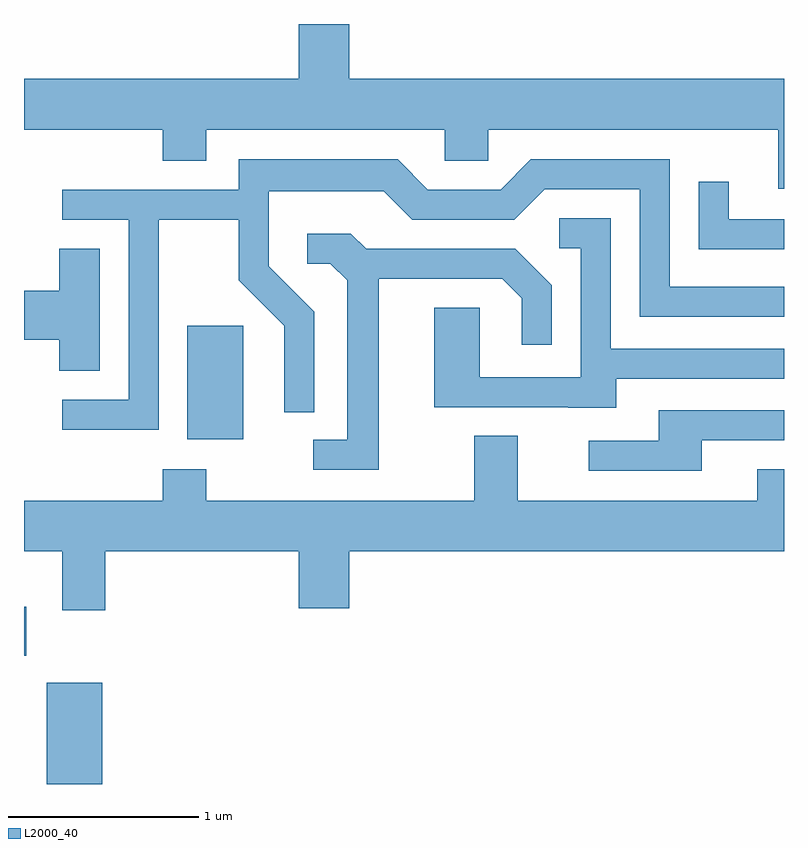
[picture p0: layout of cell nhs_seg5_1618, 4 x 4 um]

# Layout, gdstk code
import gdstk
lib = gdstk.Library(unit=1e-6, precision=1e-09)
def R(c, l, rs):  # rectangles x0, y0, x1, y1
    for r in rs: c.add(gdstk.rectangle(r[:2], r[2:], *l))
def P(c, l, *ps):  # polygons
    for p in ps: c.add(gdstk.Polygon(p, *l))
L2000_40 = (2000, 40)

nhs_seg5_1618 = lib.new_cell('nhs_seg5_1618')
R(nhs_seg5_1618, L2000_40, [(233.731,1400.072,234.024,1400.604), (233.611,1400.746,233.624,1401.004), (234.471,1401.886,234.764,1402.484)])
P(nhs_seg5_1618, L2000_40, [(237.611,1403.784),(235.324,1403.784),(235.324,1404.072),(235.056,1404.072),(235.056,1403.784),(233.611,1403.784),(233.611,1403.516),(234.341,1403.516),(234.341,1403.351),(234.569,1403.351),(234.569,1403.516),(235.826,1403.516),(235.826,1403.351),(236.054,1403.351),(236.054,1403.516),(237.581,1403.516),(237.581,1403.206),(237.611,1403.206)],
  [(234.319,1403.041),(234.741,1403.041),(234.741,1402.724),(234.981,1402.484),(234.981,1402.028),(235.139,1402.028),(235.139,1402.557),(234.899,1402.797),(234.899,1403.191),(235.504,1403.191),(235.654,1403.041),(236.192,1403.041),(236.352,1403.201),(236.851,1403.201),(236.851,1402.531),(237.611,1402.531),(237.611,1402.689),(237.009,1402.689),(237.009,1403.359),(236.279,1403.359),(236.119,1403.199),(235.737,1403.199),(235.577,1403.359),(234.741,1403.359),(234.741,1403.199),(233.813,1403.199),(233.813,1403.041),(234.161,1403.041),(234.161,1402.094),(233.813,1402.094),(233.813,1401.936),(234.319,1401.936)],
  [(237.611,1403.044),(237.319,1403.044),(237.319,1403.243),(237.161,1403.243),(237.161,1402.886),(237.611,1402.886)],
  [(236.729,1402.206),(237.611,1402.206),(237.611,1402.364),(236.699,1402.364),(236.699,1403.049),(236.428,1403.049),(236.428,1402.891),(236.541,1402.891),(236.541,1402.214),(236.009,1402.214),(236.009,1402.579),(235.771,1402.579),(235.771,1402.056),(236.475,1402.056),(236.475,1402.051),(236.729,1402.051)],
  [(235.479,1402.731),(236.129,1402.731),(236.231,1402.629),(236.231,1402.383),(236.389,1402.383),(236.389,1402.697),(236.197,1402.889),(235.412,1402.889),(235.332,1402.969),(235.103,1402.969),(235.103,1402.811),(235.224,1402.811),(235.311,1402.724),(235.311,1401.884),(235.133,1401.884),(235.133,1401.726),(235.479,1401.726)],
  [(234.009,1402.889),(233.796,1402.889),(233.796,1402.669),(233.611,1402.669),(233.611,1402.411),(233.796,1402.411),(233.796,1402.246),(234.009,1402.246)],
  [(237.179,1401.881),(237.611,1401.881),(237.611,1402.039),(236.951,1402.039),(236.951,1401.879),(236.583,1401.879),(236.583,1401.721),(237.179,1401.721)],
  [(234.039,1401.296),(235.056,1401.296),(235.056,1400.996),(235.324,1400.996),(235.324,1401.296),(237.611,1401.296),(237.611,1401.729),(237.471,1401.729),(237.471,1401.564),(236.209,1401.564),(236.209,1401.904),(235.981,1401.904),(235.981,1401.564),(234.569,1401.564),(234.569,1401.729),(234.341,1401.729),(234.341,1401.564),(233.611,1401.564),(233.611,1401.296),(233.811,1401.296),(233.811,1400.986),(234.039,1400.986)])

lib.write_gds('nhs_seg5_1618.gds')
